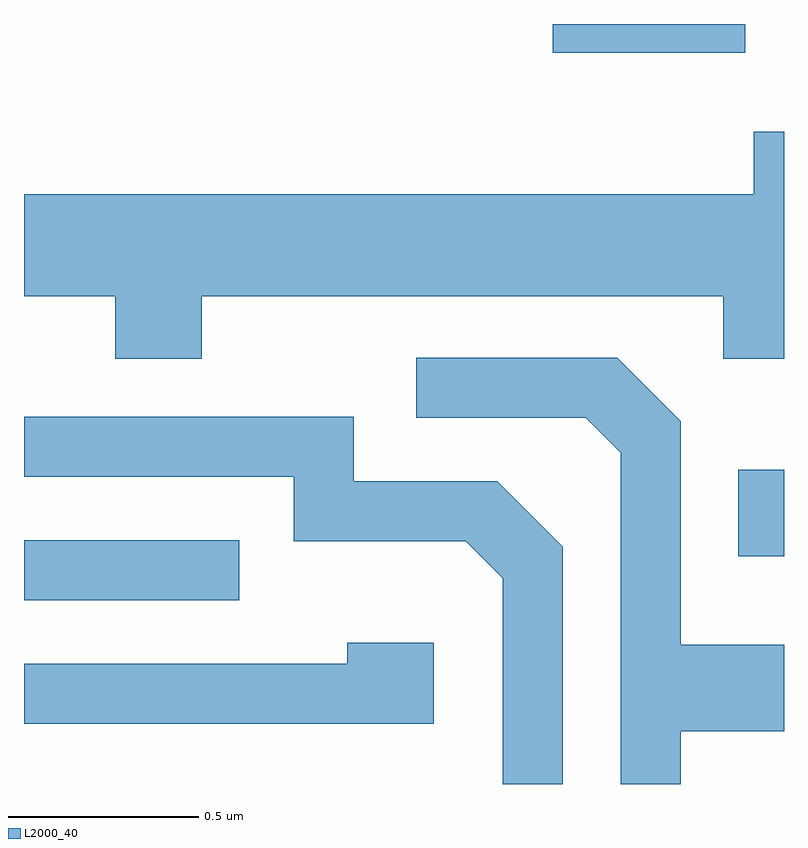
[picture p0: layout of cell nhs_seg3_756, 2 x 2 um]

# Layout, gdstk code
import gdstk
lib = gdstk.Library(unit=1e-6, precision=1e-09)
def R(c, l, rs):  # rectangles x0, y0, x1, y1
    for r in rs: c.add(gdstk.rectangle(r[:2], r[2:], *l))
def P(c, l, *ps):  # polygons
    for p in ps: c.add(gdstk.Polygon(p, *l))
L2000_40 = (2000, 40)

nhs_seg3_756 = lib.new_cell('nhs_seg3_756')
R(nhs_seg3_756, L2000_40, [(190.611,1187.376,191.178,1187.534), (192.491,1187.491,192.611,1187.719), (192.003,1188.816,192.509,1188.892)])
P(nhs_seg3_756, L2000_40, [(191.079,1188.176),(192.451,1188.176),(192.451,1188.011),(192.611,1188.011),(192.611,1188.609),(192.531,1188.609),(192.531,1188.444),(190.611,1188.444),(190.611,1188.176),(190.851,1188.176),(190.851,1188.011),(191.079,1188.011)],
  [(192.339,1187.031),(192.611,1187.031),(192.611,1187.259),(192.339,1187.259),(192.339,1187.847),(192.172,1188.014),(191.643,1188.014),(191.643,1187.856),(192.089,1187.856),(192.181,1187.764),(192.181,1186.892),(192.339,1186.892)],
  [(192.029,1187.517),(191.857,1187.689),(191.479,1187.689),(191.479,1187.859),(190.611,1187.859),(190.611,1187.701),(191.321,1187.701),(191.321,1187.531),(191.774,1187.531),(191.871,1187.434),(191.871,1186.892),(192.029,1186.892)],
  [(191.689,1187.264),(191.461,1187.264),(191.461,1187.209),(190.611,1187.209),(190.611,1187.051),(191.689,1187.051)])

lib.write_gds('nhs_seg3_756.gds')
